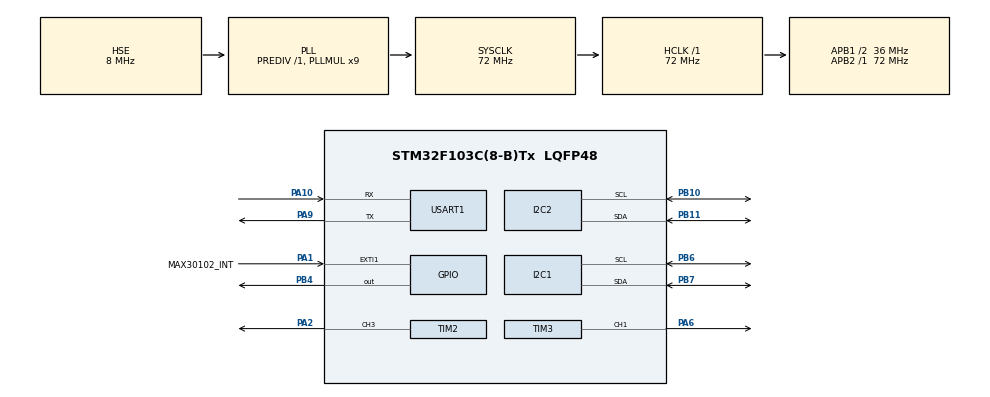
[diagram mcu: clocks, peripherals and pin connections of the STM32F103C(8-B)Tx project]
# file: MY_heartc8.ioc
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Dma.Request0=TIM2_CH3
Dma.TIM2_CH3.0.Direction=DMA_MEMORY_TO_PERIPH
Dma.TIM2_CH3.0.Instance=DMA1_Channel1
Dma.TIM2_CH3.0.MemDataAlignment=DMA_MDATAALIGN_WORD
Dma.TIM2_CH3.0.MemInc=DMA_MINC_ENABLE
Dma.TIM2_CH3.0.Mode=DMA_NORMAL
Dma.TIM2_CH3.0.PeriphDataAlignment=DMA_PDATAALIGN_WORD
Dma.TIM2_CH3.0.PeriphInc=DMA_PINC_DISABLE
Dma.TIM2_CH3.0.Priority=DMA_PRIORITY_LOW
Mcu.Family=STM32F1
Mcu.Name=STM32F103C(8-B)Tx
Mcu.Package=LQFP48
NVIC.DMA1_Channel1_IRQn=true\:0\:0\:false\:false\:true\:false\:true
NVIC.EXTI1_IRQn=true\:0\:0\:false\:false\:true\:true\:true
NVIC.PriorityGroup=NVIC_PRIORITYGROUP_4
PA1.GPIO_Label=MAX30102_INT
PA1.GPIO_ModeDefaultEXTI=GPIO_MODE_IT_FALLING
PA1.GPIO_PuPd=GPIO_PULLUP
PA1.Signal=GPXTI1
PA10.Mode=Asynchronous
PA10.Signal=USART1_RX
PA13.Mode=Serial_Wire
PA13.Signal=SYS_JTMS-SWDIO
PA14.Mode=Serial_Wire
PA14.Signal=SYS_JTCK-SWCLK
PA2.Signal=S_TIM2_CH3
PA6.Signal=S_TIM3_CH1
PA9.Mode=Asynchronous
PA9.Signal=USART1_TX
PB10.Mode=I2C
PB10.Signal=I2C2_SCL
PB11.Mode=I2C
PB11.Signal=I2C2_SDA
PB4.Signal=GPIO_Output
PB6.Mode=I2C
PB6.Signal=I2C1_SCL
PB7.Mode=I2C
PB7.Signal=I2C1_SDA
PD0-OSC_IN.Mode=HSE-External-Oscillator
PD0-OSC_IN.Signal=RCC_OSC_IN
PD1-OSC_OUT.Mode=HSE-External-Oscillator
PD1-OSC_OUT.Signal=RCC_OSC_OUT
ProjectManager.HeapSize=0x200
ProjectManager.StackSize=0x400
ProjectManager.TargetToolchain=MDK-ARM V5
RCC.AHBFreq_Value=72000000
RCC.APB1CLKDivider=RCC_HCLK_DIV2
RCC.APB1Freq_Value=36000000
RCC.APB1TimFreq_Value=72000000
RCC.APB2Freq_Value=72000000
RCC.APB2TimFreq_Value=72000000
RCC.HCLKFreq_Value=72000000
RCC.PLLMUL=RCC_PLL_MUL9
RCC.PLLSourceVirtual=RCC_PLLSOURCE_HSE
RCC.SYSCLKFreq_VALUE=72000000
RCC.SYSCLKSource=RCC_SYSCLKSOURCE_PLLCLK
RCC.USBFreq_Value=72000000
SH.S_TIM2_CH3.0=TIM2_CH3,PWM Generation3 CH3
SH.S_TIM3_CH1.0=TIM3_CH1,PWM Generation1 CH1
TIM2.Channel-PWM\ Generation3\ CH3=TIM_CHANNEL_3
TIM2.Period=89
TIM3.Channel-PWM\ Generation1\ CH1=TIM_CHANNEL_1
TIM3.Period=999
TIM3.Prescaler=71
TIM3.Pulse-PWM\ Generation1\ CH1=500
USART1.VirtualMode=VM_ASYNC
VP_TIM2_VS_ClockSourceINT.Mode=Internal
VP_TIM3_VS_ClockSourceINT.Mode=Internal
board=custom

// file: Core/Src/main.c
/* USER CODE BEGIN Header */
/**
  ******************************************************************************
  * @file           : main.c
  * @brief          : Main program body
  ******************************************************************************
  * @attention
  *
  * Copyright (c) 2023 STMicroelectronics.
  * All rights reserved.
  *
  * This software is licensed under terms that can be found in the LICENSE file
  * in the root directory of this software component.
  * If no LICENSE file comes with this software, it is provided AS-IS.
  *
  ******************************************************************************
  */
/* USER CODE END Header */
#include "main.h"
#include "dma.h"
#include "i2c.h"
#include "tim.h"
#include "usart.h"
#include "gpio.h"

/* USER CODE BEGIN Includes */
#include "stdio.h"
#include "max30102.h"
#include "max30102_fir.h"
#include "oled.h"
#include "ws2812.h"
int fputc(int ch,FILE *f)
{
	HAL_UART_Transmit(&huart1,(uint8_t *)&ch,1,0xffff);
	return ch;
}
/* USER CODE END Includes */

void SystemClock_Config(void);
/* USER CODE BEGIN PFP */
uint8_t max30102_int_flag = 0; // 中断标志
float ppg_data_cache_RED[CACHE_NUMS] = {0}; // 缓存区
float ppg_data_cache_IR[CACHE_NUMS] = {0};  // 缓存区
uint16_t cache_counter = 0; // 缓存计数器
int touch_30102=0;
/* USER CODE END PFP */

int main(void)
{

  /* MCU Configuration--------------------------------------------------------*/

  /* Reset of all peripherals, Initializes the Flash interface and the Systick. */
  HAL_Init();

  /* Configure the system clock */
  SystemClock_Config();

  /* Initialize all configured peripherals */
  MX_GPIO_Init();
  MX_DMA_Init();
  MX_TIM2_Init();
  MX_I2C1_Init();
  MX_I2C2_Init();
  MX_TIM3_Init();
  MX_USART1_UART_Init();
  /* USER CODE BEGIN 2 */
  /*******************************************/
  //OLED初始化
  OLED_Init();
  OLED_Clear();
  OLED_ShowCHinese24(0+6,0,0);
  OLED_ShowCHinese24(28+6,0,1);
  OLED_ShowNUM24(56+6,0,10);
  OLED_ShowNUM24(70+6,0,0);
  /*******************************************/
//心率检测模块相关初始化
  max30102_init();
  max30102_fir_init();
  float max30102_data[2], fir_output[2];
  uint16_t HeartRate = 0;
  float SpO2 = 0;
  printf("Max30102 Init\r\n");
/******************************************/
  int ws2812_start=0; //时间间隔初始化
  int TIME_ago=0;     //时间间隔起始点
  uint32_t time_now=0;//当前时间
  int heart_cycle=750;//心率周期
  /* USER CODE END 2 */

  /* Infinite loop */
  /* USER CODE BEGIN WHILE */
  while (1)
  {
	  //ws2812控制及蜂鸣器
	if(touch_30102)
	{
	   time_now= HAL_GetTick();
	  if(ws2812_start==0)
	  {
		  ws2812_start=1;
		  TIME_ago=time_now;
      }
	  if(time_now-TIME_ago<=heart_cycle/8) //暂且设置为闪烁为1:7
	  {
	   rgb_show(17,RED);
	   HAL_TIM_PWM_Start(&htim3,TIM_CHANNEL_1);
	  }
	  else if(time_now-TIME_ago>heart_cycle)
		 ws2812_start=0;
	  else
	  {
	   rgb_show(17,BLACK);
	    HAL_TIM_PWM_Stop(&htim3,TIM_CHANNEL_1);
	  }

	}
	else
	{
	  HAL_TIM_PWM_Stop(&htim3,TIM_CHANNEL_1);
	  rainbowCycle(1);
	}
	  //心率检测，完成OLED显示及心率周期计算
    if(MAX30102_Get_DATA(&HeartRate,&SpO2,max30102_data,fir_output) == MAX30102_DATA_OK)
	{
		printf("心率：%d  次/min   ", HeartRate);
		if(HeartRate>=60&&HeartRate<=110)
		{
			heart_cycle=60000/HeartRate; //计算心率周期（ms）
			if(HeartRate>=100)
			{
			 OLED_ShowNUM24(70+6,0,HeartRate/100);
			 OLED_ShowNUM24(86+6,0,HeartRate%100/10);
			 OLED_ShowNUM24(102+6,0,HeartRate%100%10);
			}
			else if(HeartRate>=60)
			{
			  OLED_ShowNUM24(70+6,0,HeartRate%100/10);
			  OLED_ShowNUM24(86+6,0,HeartRate%100%10);
			  OLED_ShowNUM24(102+6,0,11);
			}
		}
	}
    /* USER CODE END WHILE */

  }
}

void SystemClock_Config(void)
{
  RCC_OscInitTypeDef RCC_OscInitStruct = {0};
  RCC_ClkInitTypeDef RCC_ClkInitStruct = {0};

  /** Initializes the RCC Oscillators according to the specified parameters
  * in the RCC_OscInitTypeDef structure.
  */
  RCC_OscInitStruct.OscillatorType = RCC_OSCILLATORTYPE_HSE;
  RCC_OscInitStruct.HSEState = RCC_HSE_ON;
  RCC_OscInitStruct.HSEPredivValue = RCC_HSE_PREDIV_DIV1;
  RCC_OscInitStruct.HSIState = RCC_HSI_ON;
  RCC_OscInitStruct.PLL.PLLState = RCC_PLL_ON;
  RCC_OscInitStruct.PLL.PLLSource = RCC_PLLSOURCE_HSE;
  RCC_OscInitStruct.PLL.PLLMUL = RCC_PLL_MUL9;
  if (HAL_RCC_OscConfig(&RCC_OscInitStruct) != HAL_OK)
  {
    Error_Handler();
  }
  /** Initializes the CPU, AHB and APB buses clocks
  */
  RCC_ClkInitStruct.ClockType = RCC_CLOCKTYPE_HCLK|RCC_CLOCKTYPE_SYSCLK
                              |RCC_CLOCKTYPE_PCLK1|RCC_CLOCKTYPE_PCLK2;
  RCC_ClkInitStruct.SYSCLKSource = RCC_SYSCLKSOURCE_PLLCLK;
  RCC_ClkInitStruct.AHBCLKDivider = RCC_SYSCLK_DIV1;
  RCC_ClkInitStruct.APB1CLKDivider = RCC_HCLK_DIV2;
  RCC_ClkInitStruct.APB2CLKDivider = RCC_HCLK_DIV1;

  if (HAL_RCC_ClockConfig(&RCC_ClkInitStruct, FLASH_LATENCY_2) != HAL_OK)
  {
    Error_Handler();
  }
}

void Error_Handler(void)
{
  __disable_irq();
  while (1)
  {
  }
}
